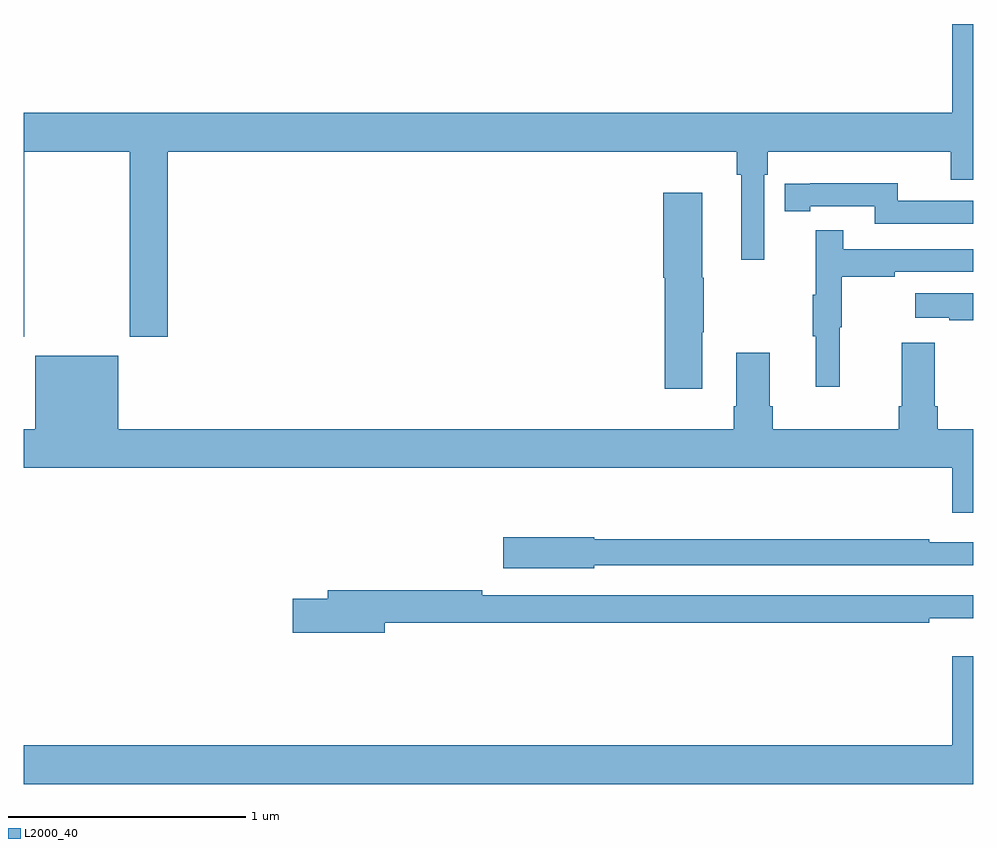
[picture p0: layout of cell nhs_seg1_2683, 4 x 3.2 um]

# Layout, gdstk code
import gdstk
lib = gdstk.Library(unit=1e-6, precision=1e-09)
def P(c, l, *ps):  # polygons
    for p in ps: c.add(gdstk.Polygon(p, *l))
L2000_40 = (2000, 40)

nhs_seg1_2683 = lib.new_cell('nhs_seg1_2683')
P(nhs_seg1_2683, L2000_40, [(257.001,525.092),(257.446,525.092),(257.446,524.313),(257.606,524.313),(257.606,525.092),(260.005,525.092),(260.005,524.996),(260.024,524.996),(260.024,524.637),(260.121,524.637),(260.121,524.996),(260.135,524.996),(260.135,525.092),(260.906,525.092),(260.906,524.975),(261,524.975),(261,525.631),(260.912,525.631),(260.912,525.256),(257,525.256),(257,524.313),(257.001,524.313)],
  [(261,524.886),(260.682,524.886),(260.682,524.959),(260.314,524.959),(260.314,524.958),(260.206,524.958),(260.206,524.842),(260.314,524.842),(260.314,524.862),(260.586,524.862),(260.586,524.79),(261,524.79)],
  [(259.858,524.332),(259.866,524.332),(259.866,524.562),(259.858,524.562),(259.858,524.92),(259.694,524.92),(259.694,524.562),(259.7,524.562),(259.7,524.094),(259.858,524.094)],
  [(260.438,524.352),(260.446,524.352),(260.446,524.566),(260.669,524.566),(260.669,524.586),(261,524.586),(261,524.682),(260.453,524.682),(260.453,524.761),(260.336,524.761),(260.336,524.489),(260.325,524.489),(260.325,524.315),(260.336,524.315),(260.336,524.103),(260.438,524.103)],
  [(261,524.497),(260.757,524.497),(260.757,524.393),(260.9,524.393),(260.9,524.383),(261,524.383)],
  [(261,523.924),(260.852,523.924),(260.852,524.02),(260.839,524.02),(260.839,524.287),(260.699,524.287),(260.699,524.02),(260.687,524.02),(260.687,523.924),(260.156,523.924),(260.156,524.02),(260.143,524.02),(260.143,524.245),(260.003,524.245),(260.003,524.02),(259.991,524.02),(259.991,523.924),(257.398,523.924),(257.398,524.233),(257.048,524.233),(257.048,523.924),(257,523.924),(257,523.76),(260.912,523.76),(260.912,523.572),(261,523.572)],
  [(259.404,523.35),(261,523.35),(261,523.446),(260.816,523.446),(260.816,523.459),(259.404,523.459),(259.404,523.467),(259.02,523.467),(259.02,523.337),(259.404,523.337)],
  [(258.52,523.108),(260.816,523.108),(260.816,523.127),(261,523.127),(261,523.224),(258.932,523.224),(258.932,523.244),(258.281,523.244),(258.281,523.208),(258.132,523.208),(258.132,523.066),(258.52,523.066)],
  [(261,522.967),(260.912,522.967),(260.912,522.592),(257,522.592),(257,522.428),(261,522.428)])

lib.write_gds('nhs_seg1_2683.gds')
